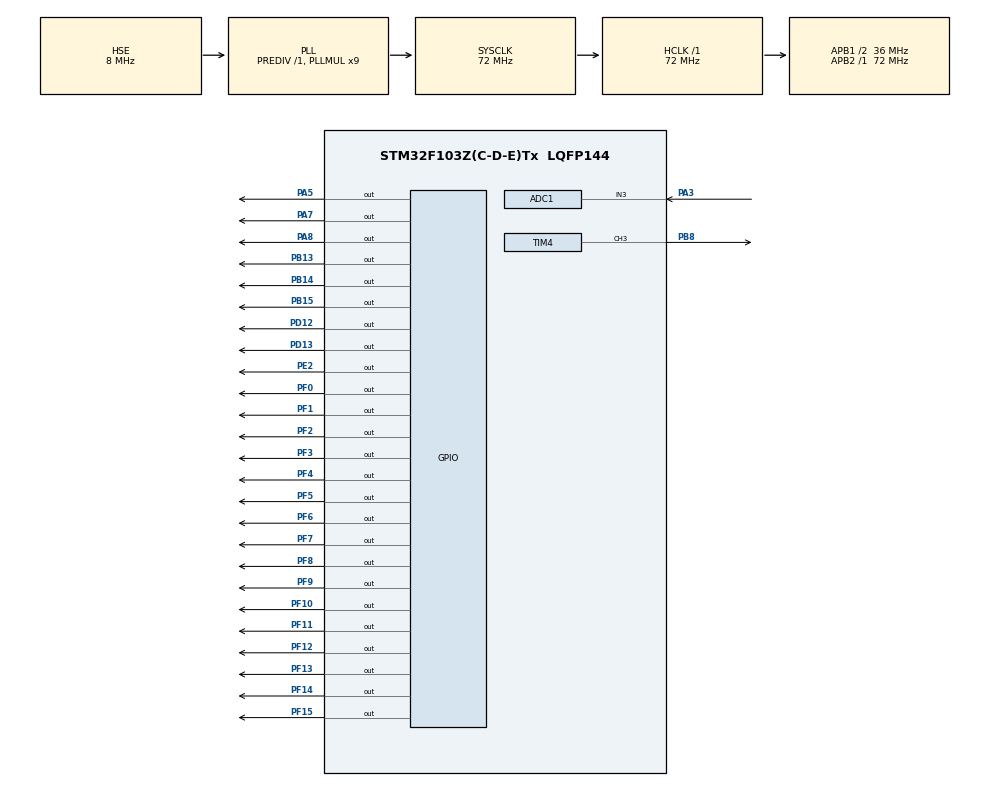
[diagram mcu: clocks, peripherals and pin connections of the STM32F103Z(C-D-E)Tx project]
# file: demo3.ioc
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ADC1.Channel-1\#ChannelRegularConversion=ADC_CHANNEL_3
ADC1.ContinuousConvMode=ENABLE
ADC1.NbrOfConversionFlag=1
ADC1.Rank-1\#ChannelRegularConversion=1
ADC1.SamplingTime-1\#ChannelRegularConversion=ADC_SAMPLETIME_1CYCLE_5
ADC1.master=1
Mcu.Family=STM32F1
Mcu.Name=STM32F103Z(C-D-E)Tx
Mcu.Package=LQFP144
NVIC.ADC1_2_IRQn=true\:0\:0\:false\:false\:true\:true\:true\:true
NVIC.PriorityGroup=NVIC_PRIORITYGROUP_4
NVIC.TIM1_UP_IRQn=true\:0\:0\:false\:false\:true\:true\:true\:true
NVIC.TIM2_IRQn=true\:0\:0\:false\:false\:true\:true\:true\:true
NVIC.TIM4_IRQn=true\:0\:0\:false\:false\:true\:true\:true\:true
OSC_IN.Mode=HSE-External-Oscillator
OSC_IN.Signal=RCC_OSC_IN
OSC_OUT.Mode=HSE-External-Oscillator
OSC_OUT.Signal=RCC_OSC_OUT
PA13.Mode=Serial_Wire
PA13.Signal=SYS_JTMS-SWDIO
PA14.Mode=Serial_Wire
PA14.Signal=SYS_JTCK-SWCLK
PA3.Signal=ADCx_IN3
PA5.Signal=GPIO_Output
PA7.Signal=GPIO_Output
PA8.Signal=GPIO_Output
PB13.GPIO_PuPd=GPIO_PULLUP
PB13.PinState=GPIO_PIN_SET
PB13.Signal=GPIO_Output
PB14.GPIO_PuPd=GPIO_PULLUP
PB14.PinState=GPIO_PIN_SET
PB14.Signal=GPIO_Output
PB15.GPIO_PuPd=GPIO_PULLUP
PB15.PinState=GPIO_PIN_SET
PB15.Signal=GPIO_Output
PB8.Signal=S_TIM4_CH3
PD12.GPIO_PuPd=GPIO_PULLDOWN
PD12.Signal=GPIO_Output
PD13.GPIO_PuPd=GPIO_PULLDOWN
PD13.Signal=GPIO_Output
PE2.GPIO_PuPd=GPIO_PULLUP
PE2.GPIO_Speed=GPIO_SPEED_FREQ_HIGH
PE2.PinState=GPIO_PIN_SET
PE2.Signal=GPIO_Output
PF0.GPIO_PuPd=GPIO_PULLDOWN
PF0.Signal=GPIO_Output
PF1.GPIO_PuPd=GPIO_PULLDOWN
PF1.Signal=GPIO_Output
PF10.GPIO_PuPd=GPIO_NOPULL
PF10.Signal=GPIO_Output
PF11.GPIO_PuPd=GPIO_NOPULL
PF11.Signal=GPIO_Output
PF12.GPIO_PuPd=GPIO_NOPULL
PF12.Signal=GPIO_Output
PF13.Signal=GPIO_Output
PF14.Signal=GPIO_Output
PF15.Signal=GPIO_Output
PF2.GPIO_PuPd=GPIO_PULLDOWN
PF2.Signal=GPIO_Output
PF3.GPIO_PuPd=GPIO_PULLDOWN
PF3.Signal=GPIO_Output
PF4.GPIO_PuPd=GPIO_PULLDOWN
PF4.Signal=GPIO_Output
PF5.GPIO_PuPd=GPIO_PULLDOWN
PF5.Signal=GPIO_Output
PF6.GPIO_PuPd=GPIO_PULLDOWN
PF6.Signal=GPIO_Output
PF7.GPIO_PuPd=GPIO_PULLDOWN
PF7.Signal=GPIO_Output
PF8.GPIO_PuPd=GPIO_NOPULL
PF8.Signal=GPIO_Output
PF9.GPIO_PuPd=GPIO_NOPULL
PF9.Signal=GPIO_Output
ProjectManager.HeapSize=0x200
ProjectManager.StackSize=0x400
ProjectManager.TargetToolchain=MDK-ARM V5.32
RCC.ADCPresc=RCC_ADCPCLK2_DIV6
RCC.AHBFreq_Value=72000000
RCC.APB1CLKDivider=RCC_HCLK_DIV2
RCC.APB1Freq_Value=36000000
RCC.APB1TimFreq_Value=72000000
RCC.APB2Freq_Value=72000000
RCC.APB2TimFreq_Value=72000000
RCC.HCLKFreq_Value=72000000
RCC.PLLMUL=RCC_PLL_MUL9
RCC.PLLSourceVirtual=RCC_PLLSOURCE_HSE
RCC.SYSCLKFreq_VALUE=72000000
RCC.SYSCLKSource=RCC_SYSCLKSOURCE_PLLCLK
RCC.USBFreq_Value=72000000
SH.ADCx_IN3.0=ADC1_IN3,IN3
SH.S_TIM4_CH3.0=TIM4_CH3,PWM Generation3 CH3
TIM1.Period=10-1
TIM1.Prescaler=7200-1
TIM2.Prescaler=72-1
TIM4.Channel-PWM\ Generation3\ CH3=TIM_CHANNEL_3
TIM4.Period=1000-1
TIM4.Prescaler=720-1
TIM4.Pulse-PWM\ Generation3\ CH3=50
VP_TIM1_VS_ClockSourceINT.Mode=Internal
VP_TIM2_VS_ClockSourceINT.Mode=Internal
VP_TIM4_VS_ClockSourceINT.Mode=Internal
board=custom

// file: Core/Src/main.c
/* USER CODE BEGIN Header */
/**
  ******************************************************************************
  * @file           : main.c
  * @brief          : Main program body
  ******************************************************************************
  * @attention
  *
  * Copyright (c) 2025 STMicroelectronics.
  * All rights reserved.
  *
  * This software is licensed under terms that can be found in the LICENSE file
  * in the root directory of this software component.
  * If no LICENSE file comes with this software, it is provided AS-IS.
  *
  ******************************************************************************
  */
/* USER CODE END Header */
#include "main.h"
#include "adc.h"
#include "tim.h"
#include "gpio.h"

/* USER CODE BEGIN Includes */
#include "Init_hardware.h"
/* USER CODE END Includes */

/* USER CODE BEGIN PV */

/*延时*/
volatile uint16_t seg_delay_ms = 0; //100ms
volatile uint16_t adc_delay_ms = 0; //100ms
volatile uint16_t led_delay_ms = 0; //100ms
volatile uint16_t led_delay_1000ms = 0; //100ms
volatile uint16_t t_delay_ms = 0; //100ms
//温度
short temp;
float temperture = 15.0;
volatile uint8_t seg_buf[9] = {0x00,0x00,0x00,0x00,0x00,0x00,0x00,0x00,0x00};
volatile uint8_t seg_pos;
uint16_t voltage= 1885;
/*闪烁灯*/
uint8_t led0 = 0;
/*ADC*/
uint16_t value;
float v ;
/*逻辑判断*/
//蜂鸣器 led rgb motor
uint8_t buzzer_on;
uint8_t led1_on;
uint8_t rgb_on;
uint8_t motor_on;

uint8_t led1_flag;
/* USER CODE END PV */

void SystemClock_Config(void);

/* USER CODE BEGIN 0 */

void t_process(){
	temp = DS18B20_Get_Temp();
	temperture = temp / 10.0;
}

void ADC_process(){
	value = HAL_ADC_GetValue(&hadc1);
	v = (value / 4095.0) *3.3 ;
}

void Seg_process(){
	voltage = (uint16_t)(temperture * 100 );
	// 分离各位数字
	seg_buf[1] = Seg_Table[voltage / 1000 %10];         // 百位(0-3)
  seg_buf[2] = Seg_Table[voltage / 100 %10];         // 百位(0-3)
  seg_buf[3] = Seg_Table[(voltage / 10) % 10];   // 十位
  seg_buf[4] = Seg_Table[voltage % 10];          // 个位
    // 添加小数点(第1位后)
  seg_buf[2] |= 0x80;  // 添加小数点标志(假设您的数码管驱动中最高位控制小数点)
}
void Led_process(){
	if(led1_on == 1){
		led_delay_1000ms++ ;
		if(led_delay_1000ms == 10){
			led1_flag = 1-led1_flag;
			HAL_GPIO_WritePin(GPIOF,GPIO_PIN_0,led1_flag);
			led_delay_1000ms = 0;
		}
	}
	else{
		HAL_GPIO_WritePin(GPIOF,GPIO_PIN_0,0);
	}

	if(rgb_on == 1){
		HAL_GPIO_WritePin(GPIOB,GPIO_PIN_13|GPIO_PIN_14|GPIO_PIN_15,0);

	}
	else{
		HAL_GPIO_WritePin(GPIOB,GPIO_PIN_13|GPIO_PIN_14|GPIO_PIN_15,1);
	}

	if(motor_on == 1){
		HAL_GPIO_WritePin(GPIOD,GPIO_PIN_13,1);
		HAL_GPIO_WritePin(GPIOD,GPIO_PIN_12,0);
	}
	else{
		HAL_GPIO_WritePin(GPIOD,GPIO_PIN_12|GPIO_PIN_13,1);
	}

	if(buzzer_on == 1){
		HAL_TIM_PWM_Start(&htim4,TIM_CHANNEL_3);
	}
	else{
		HAL_TIM_PWM_Stop(&htim4,TIM_CHANNEL_3);
	}
}

void HAL_TIM_PeriodElapsedCallback(TIM_HandleTypeDef *htim){
	if(htim == &htim1){
		/*
		if(adc_delay_ms++ >= 500){
			adc_delay_ms = 0;
			ADC_process();
		}
		*/
		if(t_delay_ms++ >= 1000){
			t_delay_ms = 0;
			t_process();
		}

		if(seg_delay_ms++ >= 100){
			seg_delay_ms = 0;
			Seg_process();
		}

		if(led_delay_ms++ >= 100){
			led_delay_ms = 0;
			Led_process();
		}
		seg_pos++;
		if(seg_pos == 9) seg_pos = 1;
		Seg_disp(seg_buf[seg_pos], seg_pos);

		//逻辑判断
		if(temperture < 10.0){
			buzzer_on = 1;
			led1_on = 1;
			rgb_on = 1;
			motor_on = 0;
		}
		else if(temperture >30.0){
			buzzer_on = 1;
			led1_on = 1;
			rgb_on = 0 ;
			motor_on = 1;
		}
		else{
			buzzer_on = 0;
			led1_on = 0;
			rgb_on = 0 ;
			motor_on = 0;

		}
	}
}
/* USER CODE END 0 */

int main(void)
{

  /* MCU Configuration--------------------------------------------------------*/

  /* Reset of all peripherals, Initializes the Flash interface and the Systick. */
  HAL_Init();

  /* Configure the system clock */
  SystemClock_Config();

  /* Initialize all configured peripherals */
  MX_GPIO_Init();
  MX_ADC1_Init();
  MX_TIM1_Init();
  MX_TIM4_Init();
  MX_TIM2_Init();
  /* USER CODE BEGIN 2 */
	//开启定时器
	HAL_TIM_Base_Start_IT(&htim1);
	HAL_ADCEx_Calibration_Start(&hadc1);
	HAL_ADC_Start(&hadc1);
  /* USER CODE END 2 */

  /* Infinite loop */
  /* USER CODE BEGIN WHILE */
	DS18B20_Start();
  while (1)
  {
    /* USER CODE END WHILE */

  }
}

void SystemClock_Config(void)
{
  RCC_OscInitTypeDef RCC_OscInitStruct = {0};
  RCC_ClkInitTypeDef RCC_ClkInitStruct = {0};
  RCC_PeriphCLKInitTypeDef PeriphClkInit = {0};

  /** Initializes the RCC Oscillators according to the specified parameters
  * in the RCC_OscInitTypeDef structure.
  */
  RCC_OscInitStruct.OscillatorType = RCC_OSCILLATORTYPE_HSE;
  RCC_OscInitStruct.HSEState = RCC_HSE_ON;
  RCC_OscInitStruct.HSEPredivValue = RCC_HSE_PREDIV_DIV1;
  RCC_OscInitStruct.HSIState = RCC_HSI_ON;
  RCC_OscInitStruct.PLL.PLLState = RCC_PLL_ON;
  RCC_OscInitStruct.PLL.PLLSource = RCC_PLLSOURCE_HSE;
  RCC_OscInitStruct.PLL.PLLMUL = RCC_PLL_MUL9;
  if (HAL_RCC_OscConfig(&RCC_OscInitStruct) != HAL_OK)
  {
    Error_Handler();
  }

  /** Initializes the CPU, AHB and APB buses clocks
  */
  RCC_ClkInitStruct.ClockType = RCC_CLOCKTYPE_HCLK|RCC_CLOCKTYPE_SYSCLK
                              |RCC_CLOCKTYPE_PCLK1|RCC_CLOCKTYPE_PCLK2;
  RCC_ClkInitStruct.SYSCLKSource = RCC_SYSCLKSOURCE_PLLCLK;
  RCC_ClkInitStruct.AHBCLKDivider = RCC_SYSCLK_DIV1;
  RCC_ClkInitStruct.APB1CLKDivider = RCC_HCLK_DIV2;
  RCC_ClkInitStruct.APB2CLKDivider = RCC_HCLK_DIV1;

  if (HAL_RCC_ClockConfig(&RCC_ClkInitStruct, FLASH_LATENCY_2) != HAL_OK)
  {
    Error_Handler();
  }
  PeriphClkInit.PeriphClockSelection = RCC_PERIPHCLK_ADC;
  PeriphClkInit.AdcClockSelection = RCC_ADCPCLK2_DIV6;
  if (HAL_RCCEx_PeriphCLKConfig(&PeriphClkInit) != HAL_OK)
  {
    Error_Handler();
  }
}

void Error_Handler(void)
{
  __disable_irq();
  while (1)
  {
  }
}
